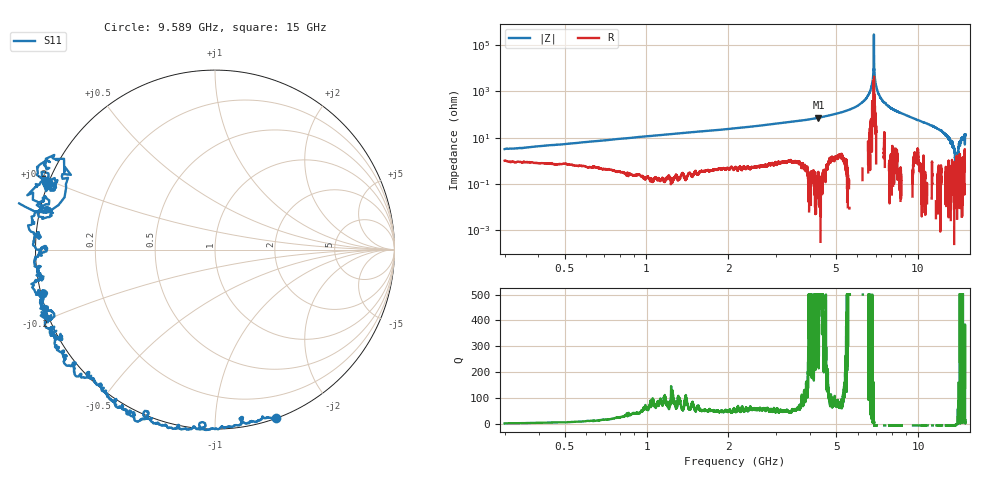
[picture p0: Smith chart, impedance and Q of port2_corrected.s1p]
! Created with skrf 1.9.0 (http://scikit-rf.org).
# GHz S RI R 50.0
!freq ReS11 ImS11
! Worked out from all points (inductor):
!   12801 points, 300 MHz to 15 GHz, reference 50 ohm
!   read as one part to ground: L = 1.71 nH near 373.5 MHz
!   highest Q = 1.21e+03 at 4.306 GHz (marker M1), where L = 2.72 nH
!   self-resonance near 6.898 GHz
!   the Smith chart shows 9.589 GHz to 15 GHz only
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0.3  -0.9527 0.118
1.043039  -0.884 0.4537
2.1375  -0.5694 0.8011
2.98275  -0.2088 0.957
3.975  0.2127 0.9784
4.30575  0.368 0.9279
4.993664  0.6458 0.7516
5.8125  0.8843 0.4763
6.565875  0.9877 0.1467
7.188328  0.9929 -0.1293
7.65  0.9495 -0.3466
8.205844  0.8116 -0.5698
8.927062  0.6259 -0.7961
9.4875  0.3974 -0.9262
10.38902  -0.0177 -0.9959
11.325  -0.3772 -0.9297
12.27591  -0.7445 -0.692
12.58713  -0.8655 -0.5686
13.1625  -0.9535 -0.3229
13.70341  -0.9888 -0.0957
13.89635  -0.9506 0.00816
14.12719  -1.019 0.0969
14.26155  -0.9288 0.2307
14.52455  -0.9205 0.3575
14.79443  -0.9584 0.3859
14.85645  -0.9229 0.4546
14.89779  -0.8432 0.4208
15  -1.032 0.572
